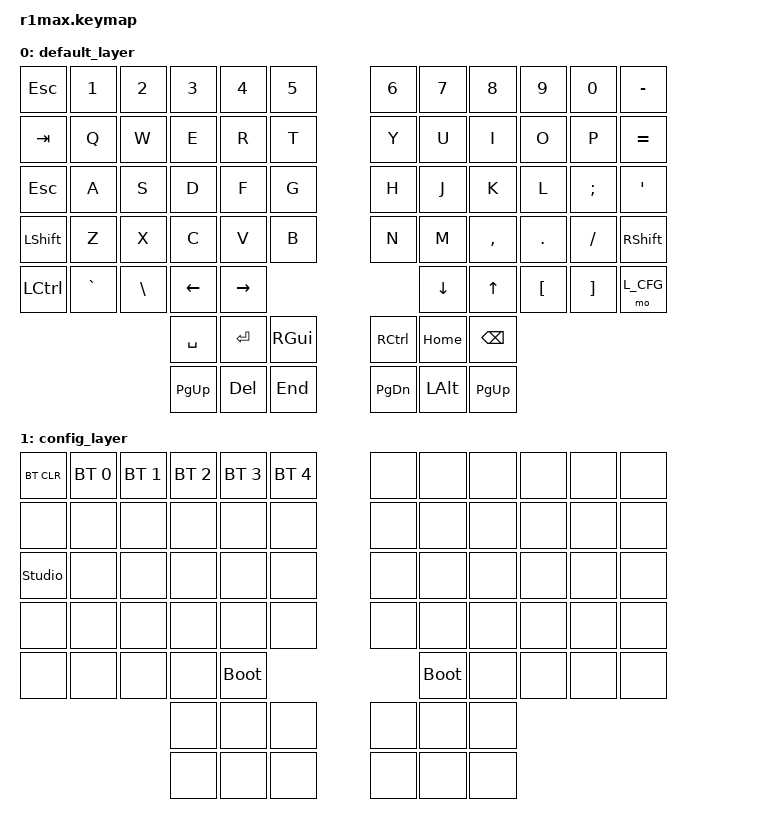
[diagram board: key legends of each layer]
#include <behaviors.dtsi>
#include <dt-bindings/zmk/keys.h>
#include <dt-bindings/zmk/bt.h>
#define L_CFG 1

/ {
    keymap {
        compatible = "zmk,keymap";
        default_layer {
            bindings = <
            &kp ESC        &kp N1    &kp N2   &kp N3    &kp N4    &kp N5                          &kp N6    &kp N7    &kp N8    &kp N9    &kp N0   &kp MINUS
            &kp TAB        &kp Q     &kp W    &kp E     &kp R     &kp T                           &kp Y     &kp U     &kp I     &kp O     &kp P    &kp EQUAL
            &kp ESC        &kp A     &kp S    &kp D     &kp F     &kp G                           &kp H     &kp J     &kp K     &kp L     &kp SEMI &kp SQT
            &kp LSHFT      &kp Z     &kp X    &kp C     &kp V     &kp B                           &kp N     &kp M     &kp COMMA &kp DOT   &kp FSLH &kp RSHFT
            &kp LCTRL      &kp GRAVE &kp BSLH &kp LEFT  &kp RIGHT                                           &kp DOWN  &kp UP    &kp LBKT  &kp RBKT &mo L_CFG 
                                                        &kp SPACE &kp RET   &kp RGUI    &kp RCTRL &kp HOME  &kp BSPC 
                                                        &kp PG_UP &kp DEL   &kp END     &kp PG_DN &kp LALT  &kp PG_UP 
            >;
        }; 
        config_layer{
            bindings = <
            &bt BT_CLR     &bt BT_SEL 0   &bt BT_SEL 1 &bt BT_SEL 2 &bt BT_SEL 3 &bt BT_SEL 4     &none     &none     &none     &none     &none    &none
            &none          &none     &none    &none     &none     &none                           &none     &none     &none     &none     &none    &none  
            &studio_unlock &none     &none    &none     &none     &none                           &none     &none     &none     &none     &none    &none  
            &none          &none     &none    &none     &none     &none                           &none     &none     &none     &none     &none    &none  
            &none          &none     &none    &none     &bootloader                                       &bootloader &none     &none     &none    &none  
                                                        &none &none &none                       &none &none &none 
                                                        &none &none &none                       &none &none &none 
            >;
        }; 
        extra {
            status = "reserved";
        };

        extra1 {
            status = "reserved";
        };

        extra2 {
            status = "reserved";
        }; 

        extra3 {
            status = "reserved";
        }; 
    };
 };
